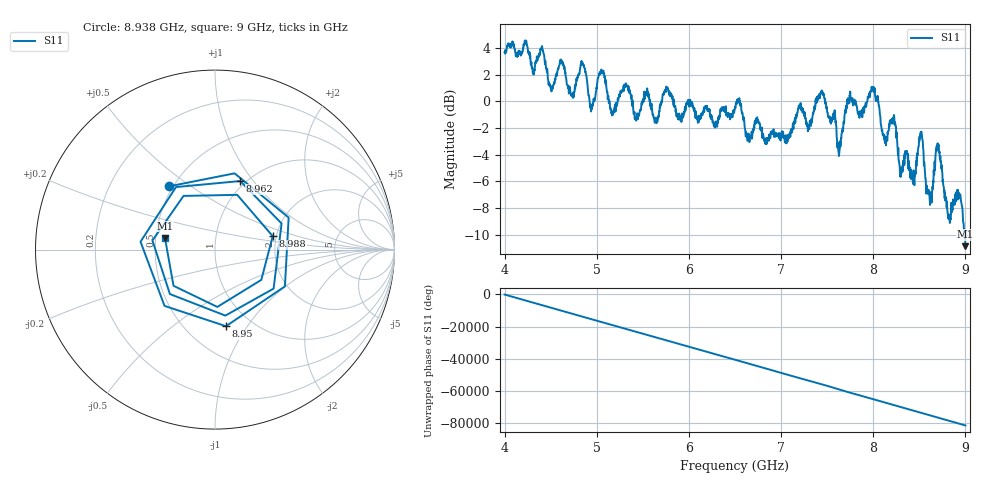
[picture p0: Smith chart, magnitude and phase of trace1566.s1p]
! Created with skrf 1.8.0 (http://scikit-rf.org).
# Hz S RI R 50.0
!freq ReS11 ImS11
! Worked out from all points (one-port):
!   1601 points, 4 GHz to 9 GHz, reference 50 ohm
!   lowest |S11| = -10.9 dB at 9 GHz (marker M1), VSWR 1.80, Z = 28 + j3.99 ohm
!   |S11| at or under -10 dB: 8.989881 GHz to 8.993113 GHz (3.231 MHz wide, 0.0359 % of centre); 8.994785 GHz to end of sweep
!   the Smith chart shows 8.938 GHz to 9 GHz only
!   S11 on the Smith chart (normalised r, x): 8.938 GHz: 0.48, +0.42; 8.95 GHz: 0.77, -0.80; 8.962 GHz: 0.94, +0.86; 8.988 GHz: 1.91, +0.32; 9 GHz: 0.56, +0.08
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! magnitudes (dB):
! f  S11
! 4 GHz  3.7
! 4.406 GHz  4.1
! 4.503 GHz  0.9
! 4.625 GHz  3.0
! 4.728 GHz  0.4
! 4.853 GHz  2.7
! 4.944 GHz  -0.5
! 5.047 GHz  2.3
! 5.25 GHz  0.4
! 5.875 GHz  -1.0
! 6.5 GHz  -0.4
! 6.653 GHz  -2.8
! 7.125 GHz  -1.9
! 7.441 GHz  0.8
! 7.628 GHz  -4.1
! 7.75 GHz  0.7
! 7.997 GHz  1.0
! 8.375 GHz  -4.3
! 8.438 GHz  -5.2
! 8.519 GHz  -2.5
! 8.612 GHz  -7.2
! 8.703 GHz  -3.5
! 8.819 GHz  -8.8
! 8.938 GHz  -7.2
! 8.95 GHz  -7.3
! 8.962 GHz  -7.8
! 8.988 GHz  -9.6
! 9 GHz  -10.9
